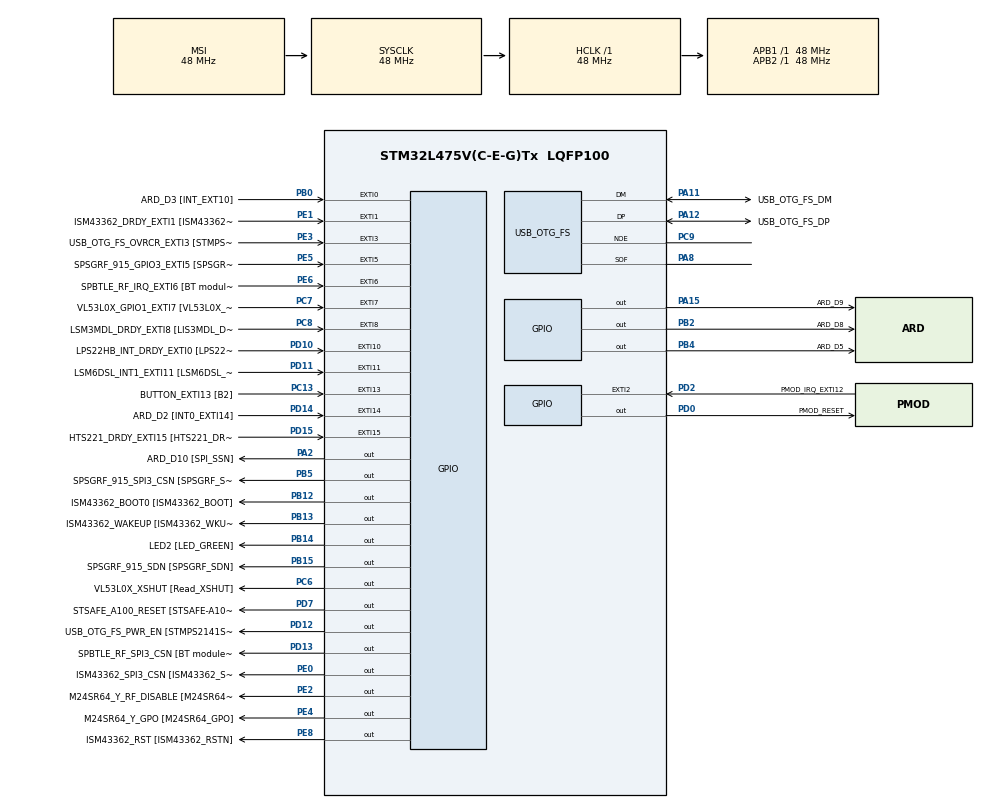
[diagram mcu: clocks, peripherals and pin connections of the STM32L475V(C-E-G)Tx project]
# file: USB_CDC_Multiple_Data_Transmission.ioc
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Mcu.Family=STM32L4
Mcu.Name=STM32L475V(C-E-G)Tx
Mcu.Package=LQFP100
NVIC.EXTI15_10_IRQn=true\:0\:0\:false\:false\:true\:true\:true
NVIC.EXTI9_5_IRQn=true\:0\:0\:false\:false\:true\:true\:true
NVIC.OTG_FS_IRQn=true\:0\:0\:false\:false\:true\:false\:true
NVIC.PriorityGroup=NVIC_PRIORITYGROUP_4
PA0.GPIO_Label=ARD_D1 [UART4_TX]
PA0.Signal=UART4_TX
PA1.GPIO_Label=ARD_D0 [UART4_RX]
PA1.Signal=UART4_RX
PA10.GPIO_Label=USB_OTG_FS_ID
PA10.Signal=USB_OTG_FS_ID
PA11.GPIO_Label=USB_OTG_FS_DM
PA11.Mode=Device_Only
PA11.Signal=USB_OTG_FS_DM
PA12.GPIO_Label=USB_OTG_FS_DP
PA12.Mode=Device_Only
PA12.Signal=USB_OTG_FS_DP
PA13\ (JTMS-SWDIO).GPIO_Label=SYS_JTMS_SWDIO
PA13\ (JTMS-SWDIO).Signal=SYS_JTMS-SWDIO
PA14\ (JTCK-SWCLK).GPIO_Label=SYS_JTCK_SWCLK
PA14\ (JTCK-SWCLK).Signal=SYS_JTCK-SWCLK
PA15\ (JTDI).GPIO_Label=ARD_D9
PA15\ (JTDI).Signal=GPIO_Output
PA2.GPIO_Label=ARD_D10 [SPI_SSN]
PA2.Signal=GPIO_Output
PA3.GPIO_Label=ARD_D4
PA3.Signal=S_TIM2_CH4
PA4.GPIO_Label=ARD_D7
PA4.Signal=ADCx_IN9
PA5.GPIO_Label=ARD_D13 [SPI1_SCK]
PA5.Signal=SPI1_SCK
PA6.GPIO_Label=ARD_D12 [SPI1_MISO]
PA6.Signal=SPI1_MISO
PA7.GPIO_Label=ARD_D11 [SPI1_MOSI]
PA7.Signal=SPI1_MOSI
PA8.Mode=Activate_SOF_FS
PA8.Signal=USB_OTG_FS_SOF
PA9.GPIO_Label=USB_OTG_FS_VBUS [STMPS2141STR_OUT]
PA9.Signal=USB_OTG_FS_VBUS
PB0.GPIO_Label=ARD_D3 [INT_EXT10]
PB0.Signal=GPXTI0
PB1.GPIO_Label=ARD_D6 [ADC1_IN6]
PB1.Signal=ADCx_IN16
PB10.GPIO_Label=INTERNAL_I2C2_SCL [VL53L0X_SCL]
PB10.Signal=I2C2_SCL
PB11.GPIO_Label=INTERNAL_I2C2_SDA [VL53L0X_SDA]
PB11.Signal=I2C2_SDA
PB12.GPIO_Label=ISM43362_BOOT0 [ISM43362_BOOT]
PB12.Signal=GPIO_Output
PB13.GPIO_Label=ISM43362_WAKEUP [ISM43362_WKUP]
PB13.Signal=GPIO_Output
PB14.GPIO_Label=LED2 [LED_GREEN]
PB14.Signal=GPIO_Output
PB15.GPIO_Label=SPSGRF_915_SDN [SPSGRF_SDN]
PB15.Signal=GPIO_Output
PB2.GPIO_Label=ARD_D8
PB2.Signal=GPIO_Output
PB3\ (JTDO-TRACESWO).GPIO_Label=SYS_JTD0_SWO
PB3\ (JTDO-TRACESWO).Signal=SYS_JTDO-SWO
PB4\ (NJTRST).GPIO_Label=ARD_D5
PB4\ (NJTRST).Signal=GPIO_Output
PB5.GPIO_Label=SPSGRF_915_SPI3_CSN [SPSGRF_SPI_CS]
PB5.PinState=GPIO_PIN_SET
PB5.Signal=GPIO_Output
PB6.GPIO_Label=ST_LINK_UART1_TX
PB6.Signal=USART1_TX
PB7.GPIO_Label=ST_LINK_UART1_RX
PB7.Signal=USART1_RX
PB8.GPIO_Label=ARD_D15 [I2C1_SCL]
PB8.Signal=I2C1_SCL
PB9.GPIO_Label=ARD_D14 [I2C1_SDA]
PB9.Signal=I2C1_SDA
PC0.GPIO_Label=ARD_A5 [ADC]
PC0.Signal=ADCx_IN1
PC1.GPIO_Label=ARD_A4 [ADC]
PC1.Signal=ADCx_IN2
PC10.GPIO_Label=INTERNAL_SPI3_SCK [BT module_SPI_SCLK] [ISM43362_SCK]
PC10.Signal=SPI3_SCK
PC11.GPIO_Label=INTERNAL_SPI3_MISO [BT module_SPI_MISO] [ISM43362_MISO]
PC11.Signal=SPI3_MISO
PC12.GPIO_Label=INTERNAL_SPI3_MOSI [BT module_SPI_MOSI] [ISM43362_MOSI]
PC12.Signal=SPI3_MOSI
PC13.GPIO_Label=BUTTON_EXTI13 [B2]
PC13.GPIO_ModeDefaultEXTI=GPIO_MODE_IT_FALLING
PC13.Signal=GPXTI13
PC14-OSC32_IN\ (PC14).Signal=RCC_OSC32_IN
PC15-OSC32_OUT\ (PC15).Signal=RCC_OSC32_OUT
PC2.GPIO_Label=ARD_A3 [ADC]
PC2.Signal=ADCx_IN3
PC3.GPIO_Label=ARD_A2 [ADC]
PC3.Signal=ADCx_IN4
PC4.GPIO_Label=ARD_A1 [ADC]
PC4.Signal=ADCx_IN13
PC5.GPIO_Label=ARD_A0 [ADC]
PC5.Signal=ADCx_IN14
PC6.GPIO_Label=VL53L0X_XSHUT [Read_XSHUT]
PC6.Signal=GPIO_Output
PC7.GPIO_Label=VL53L0X_GPIO1_EXTI7 [VL53L0X_GPIO1]
PC7.Signal=GPXTI7
PC8.GPIO_Label=LSM3MDL_DRDY_EXTI8 [LIS3MDL_DRDY]
PC8.Signal=GPXTI8
PC9.Mode=Activate_NOE
PC9.Signal=USB_OTG_FS_NOE
PD0.GPIO_Label=PMOD_RESET
PD0.Signal=GPIO_Output
PD1.GPIO_Label=PMOD_SPI2_SCK
PD1.Signal=SPI2_SCK
PD10.GPIO_Label=LPS22HB_INT_DRDY_EXTI0 [LPS22HB_INT_DRDY] 
PD10.Signal=GPXTI10
PD11.GPIO_Label=LSM6DSL_INT1_EXTI11 [LSM6DSL_INT1]
PD11.Signal=GPXTI11
PD12.GPIO_Label=USB_OTG_FS_PWR_EN [STMPS2141STR_EN]
PD12.Signal=GPIO_Output
PD13.GPIO_Label=SPBTLE_RF_SPI3_CSN [BT module_SPI_CS]
PD13.PinState=GPIO_PIN_SET
PD13.Signal=GPIO_Output
PD14.GPIO_Label=ARD_D2 [INT0_EXTI14]
PD14.Signal=GPXTI14
PD15.GPIO_Label=HTS221_DRDY_EXTI15 [HTS221_DRDY]
PD15.Signal=GPXTI15
PD2.GPIO_Label=PMOD_IRQ_EXTI12
PD2.Signal=GPXTI2
PD3.GPIO_Label=PMOD_UART2_CTS
PD3.Signal=USART2_CTS
PD4.GPIO_Label=PMOD_UART2_RTS
PD4.Signal=USART2_RTS
PD5.GPIO_Label=PMOD_UART2_TX
PD5.Signal=USART2_TX
PD6.GPIO_Label=PMOD_UART2_RX
PD6.Signal=USART2_RX
PD7.GPIO_Label=STSAFE_A100_RESET [STSAFE-A100_RESET]
PD7.Signal=GPIO_Output
PD8.GPIO_Label=INTERNAL_UART3_TX [ISM43362_RX]
PD8.Signal=USART3_TX
PD9.GPIO_Label=INTERNAL_UART3_RX [ISM43362_TX]
PD9.Signal=USART3_RX
PE0.GPIO_Label=ISM43362_SPI3_CSN [ISM43362_SSN]
PE0.PinState=GPIO_PIN_SET
PE0.Signal=GPIO_Output
PE1.GPIO_Label=ISM43362_DRDY_EXTI1 [ISM43362_DATARDY]
PE1.Signal=GPXTI1
PE10.GPIO_Label=QUADSPI_CLK [MX25R6435F_SCLK]
PE10.Signal=QUADSPI_CLK
PE11.GPIO_Label=QUADSPI_NCS [MX25R6435F_SCLK]
PE11.Signal=QUADSPI_NCS
PE12.GPIO_Label=OQUADSPI_BK1_IO0 [MX25R6435F_IO0]
PE12.Signal=QUADSPI_BK1_IO0
PE13.GPIO_Label=QUADSPI_BK1_IO1 [MX25R6435F_IO1]
PE13.Signal=QUADSPI_BK1_IO1
PE14.GPIO_Label=QUAD_SPI_BK1_IO2 [MX25R6435F_IO2]
PE14.Signal=QUADSPI_BK1_IO2
PE15.GPIO_Label=QUAD_SPI_BK1_IO3 [MX25R6435F_IO3]
PE15.Signal=QUADSPI_BK1_IO3
PE2.GPIO_Label=M24SR64_Y_RF_DISABLE [M24SR64_RFDIS]
PE2.Signal=GPIO_Output
PE3.GPIO_Label=USB_OTG_FS_OVRCR_EXTI3 [STMPS2141STR_FAULT]
PE3.Signal=GPXTI3
PE4.GPIO_Label=M24SR64_Y_GPO [M24SR64_GPO]
PE4.Signal=GPIO_Output
PE5.GPIO_Label=SPSGRF_915_GPIO3_EXTI5 [SPSGRF_GPIO_3]
PE5.Signal=GPXTI5
PE6.GPIO_Label=SPBTLE_RF_IRQ_EXTI6 [BT module_SPI_IRQ]
PE6.Signal=GPXTI6
PE7.GPIO_Label=DFSDM1_DATIN2 [MP34DT01_DOUT]
PE7.Signal=S_DATAIN2DFSDM1
PE8.GPIO_Label=ISM43362_RST [ISM43362_RSTN]
PE8.Signal=GPIO_Output
PE9.GPIO_Label=DFSDM1_CKOUT [MP34DT01_CLK]
PE9.Signal=S_CKOUTDFSDM1
ProjectManager.HeapSize=0x2000
ProjectManager.StackSize=0x4000
ProjectManager.TargetToolchain=STM32CubeIDE
RCC.ADCFreq_Value=576000000
RCC.AHBFreq_Value=48000000
RCC.APB1Freq_Value=48000000
RCC.APB1TimFreq_Value=48000000
RCC.APB2Freq_Value=48000000
RCC.APB2TimFreq_Value=48000000
RCC.CK48CLockSelection=RCC_USBCLKSOURCE_MSI
RCC.CortexFreq_Value=48000000
RCC.HCLKFreq_Value=48000000
RCC.HSE_VALUE=8000000
RCC.HSI_VALUE=16000000
RCC.LSE_VALUE=32768
RCC.MSIClockRange=RCC_MSIRANGE_11
RCC.MSI_VALUE=48000000
RCC.PLLN=40
RCC.PLLSAI1N=24
RCC.SYSCLKFreq_VALUE=48000000
RCC.USBFreq_Value=48000000
RCC.VCOOutputFreq_Value=1920000000
SH.ADCx_IN1.0=ADC1_IN1
SH.ADCx_IN13.0=ADC1_IN13
SH.ADCx_IN14.0=ADC1_IN14
SH.ADCx_IN16.0=ADC1_IN16
SH.ADCx_IN2.0=ADC1_IN2
SH.ADCx_IN3.0=ADC1_IN3
SH.ADCx_IN4.0=ADC1_IN4
SH.ADCx_IN9.0=ADC1_IN9
SH.S_CKOUTDFSDM1.0=DFSDM1_CKOUT
SH.S_DATAIN2DFSDM1.0=DFSDM1_DATIN2
SH.S_TIM2_CH4.0=TIM2_CH4
USB_DEVICE.CLASS_NAME_FS=CDC
USB_DEVICE.VirtualMode=Cdc
USB_DEVICE.VirtualModeFS=Cdc_FS
USB_OTG_FS.VirtualMode=Device_Only
VP_USB_DEVICE_VS_USB_DEVICE_CDC_FS.Mode=CDC_FS
board=B-L475E-IOT01A1

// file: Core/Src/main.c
/* USER CODE BEGIN Header */
/**
  ******************************************************************************
  * @file           : main.c
  * @brief          : Main program body
  ******************************************************************************
  * @attention
  *
  * Copyright (c) 2020-2021 STMicroelectronics.
  * All rights reserved.
  * This software is licensed under terms that can be found in the LICENSE file in
  * the root directory of this software component.
  * If no LICENSE file comes with this software, it is provided AS-IS.
  *
  ******************************************************************************
  */
/* USER CODE END Header */
#include "main.h"
#include "usb_device.h"

/* USER CODE BEGIN Includes */
#include "lsm6dsl.h"
#include "b_l475e_iot01a1_bus.h"
#include "ai_logging.h"
#include "usbd_cdc_if.h"
/* USER CODE END Includes */

/* USER CODE BEGIN PD */
#define SEND_BUFFER_MAX_SIZE 512
/* USER CODE END PD */

/* USER CODE BEGIN PV */
ai_logging_device_t device;
LSM6DSL_Object_t MotionSensor;
volatile uint32_t motionDataAvailable;
extern volatile uint8_t usb_connected;
/* USER CODE END PV */

void SystemClock_Config(void);
static void MX_GPIO_Init(void);
/* USER CODE BEGIN PFP */
static void MEMS_Init(void);
/* USER CODE END PFP */

int main(void)
{

  /* MCU Configuration--------------------------------------------------------*/

  /* Reset of all peripherals, Initializes the Flash interface and the Systick. */
  HAL_Init();

  /* Configure the system clock */
  SystemClock_Config();

  /* Initialize all configured peripherals */
  MX_GPIO_Init();
  MX_USB_DEVICE_Init();
  /* USER CODE BEGIN 2 */
  MEMS_Init();
  /* USER CODE END 2 */

  /* Infinite loop */
  /* USER CODE BEGIN WHILE */

  uint8_t send_buffer[SEND_BUFFER_MAX_SIZE];
  ai_logging_init(&device);
  ai_logging_init_send(&device, usb_cdc_send_function, send_buffer,SEND_BUFFER_MAX_SIZE);

  LSM6DSL_Axes_t acc_axes;

  motionDataAvailable = 0;

  ai_logging_packet_t packet;
  packet.timestamp = -1;

  uint32_t dataCaptured = 0;
  char charBuffer[32];

  uint8_t test_img[5][5][3] = {{{255,0,0},{255,0,0},{255,0,0},{255,0,0},{255,0,0}},
                              {{255,255,0}, {255,255,0}, {255,255,0}, {255,255,0}, {255,255,0}},
                              {{0,255,0}, {0,255,0}, {0,255,0}, {0,255,0}, {0,255,0}},
                              {{0, 255, 255}, {0, 255, 255}, {0, 255, 255}, {0, 255, 255}, {0, 255, 255}},
                              {{0, 0, 255}, {0, 0, 255}, {0, 0, 255}, {0, 0, 255}, {0, 0, 255}},
                              };

  while (1)
  {

    if (motionDataAvailable != 0) {
      LSM6DSL_ACC_GetAxes(&MotionSensor, &acc_axes);

      /*
      // Send accelerometer using data classical API using ai_logging_buffer and ai_logging_tensor
      ai_logging_buffer data_buffer;
      data_buffer.buffer = (uint8_t*)&acc_axes;
      data_buffer.size = sizeof(acc_axes);
      ai_logging_tensor data_info;
      ai_logging_shape shape = create_shape_1d(3);
      data_info.shape = &shape;
      data_info.data_type = AI_INT32;
      ai_logging_send_data(&device, data_buffer, data_info);*/

      // Send acceletometer data using "packet" API  using ai_logging_packet_t (same data type to receive packets)
      packet.message = "Accelero";
      packet.message_size = strlen(packet.message);
      packet.payload = (uint8_t*)&acc_axes;
      packet.payload_size = sizeof(acc_axes);
      ai_logging_create_shape_1d(&packet.shape, 3);
      packet.payload_type = AI_INT32;
      packet.timestamp = HAL_GetTick();
      ai_logging_send_packet(&device, &packet);

      // Sending message using ai_logging_message (classical API)
      sprintf(charBuffer, "Message: %ld", dataCaptured);
      ai_logging_message message;
      message.buffer = charBuffer;
      message.size = strlen(message.buffer);
      ai_logging_send_message(&device, message);

      uint8_t *array_start = &test_img[0][0][0];
      for(int i = 0 ; i < 5*5; i++)
      {
        *array_start += 1;
        *(array_start+1) += 2;
        *(array_start+2) -= 1;
        array_start += 3;
      }
      // Sending image reusing packet previously used
      ai_logging_clear_packet(&packet);
      packet.payload = (uint8_t*)&test_img;
      packet.payload_size = sizeof(test_img);
      // packet.shape = create_shape_3d(5, 5, 3);
      ai_logging_create_shape_3d(&packet.shape, 5, 5, 3);
      packet.payload_type = AI_UINT8;
      ai_logging_send_packet(&device, &packet);

      dataCaptured += 1;
      motionDataAvailable = 0;
    }

    /* USER CODE END WHILE */

  }
}

void SystemClock_Config(void)
{
  RCC_OscInitTypeDef RCC_OscInitStruct = {0};
  RCC_ClkInitTypeDef RCC_ClkInitStruct = {0};
  RCC_PeriphCLKInitTypeDef PeriphClkInit = {0};

  /** Initializes the RCC Oscillators according to the specified parameters
  * in the RCC_OscInitTypeDef structure.
  */
  RCC_OscInitStruct.OscillatorType = RCC_OSCILLATORTYPE_MSI;
  RCC_OscInitStruct.MSIState = RCC_MSI_ON;
  RCC_OscInitStruct.MSICalibrationValue = 0;
  RCC_OscInitStruct.MSIClockRange = RCC_MSIRANGE_11;
  RCC_OscInitStruct.PLL.PLLState = RCC_PLL_NONE;
  if (HAL_RCC_OscConfig(&RCC_OscInitStruct) != HAL_OK)
  {
    Error_Handler();
  }
  /** Initializes the CPU, AHB and APB buses clocks
  */
  RCC_ClkInitStruct.ClockType = RCC_CLOCKTYPE_HCLK|RCC_CLOCKTYPE_SYSCLK
                              |RCC_CLOCKTYPE_PCLK1|RCC_CLOCKTYPE_PCLK2;
  RCC_ClkInitStruct.SYSCLKSource = RCC_SYSCLKSOURCE_MSI;
  RCC_ClkInitStruct.AHBCLKDivider = RCC_SYSCLK_DIV1;
  RCC_ClkInitStruct.APB1CLKDivider = RCC_HCLK_DIV1;
  RCC_ClkInitStruct.APB2CLKDivider = RCC_HCLK_DIV1;

  if (HAL_RCC_ClockConfig(&RCC_ClkInitStruct, FLASH_LATENCY_2) != HAL_OK)
  {
    Error_Handler();
  }
  PeriphClkInit.PeriphClockSelection = RCC_PERIPHCLK_USB;
  PeriphClkInit.UsbClockSelection = RCC_USBCLKSOURCE_MSI;
  if (HAL_RCCEx_PeriphCLKConfig(&PeriphClkInit) != HAL_OK)
  {
    Error_Handler();
  }
  /** Configure the main internal regulator output voltage
  */
  if (HAL_PWREx_ControlVoltageScaling(PWR_REGULATOR_VOLTAGE_SCALE1) != HAL_OK)
  {
    Error_Handler();
  }
}

static void MX_GPIO_Init(void)
{
  GPIO_InitTypeDef GPIO_InitStruct = {0};

  /* GPIO Ports Clock Enable */
  __HAL_RCC_GPIOE_CLK_ENABLE();
  __HAL_RCC_GPIOC_CLK_ENABLE();
  __HAL_RCC_GPIOA_CLK_ENABLE();
  __HAL_RCC_GPIOB_CLK_ENABLE();
  __HAL_RCC_GPIOD_CLK_ENABLE();

  /*Configure GPIO pin Output Level */
  HAL_GPIO_WritePin(GPIOE, M24SR64_Y_RF_DISABLE_Pin|M24SR64_Y_GPO_Pin|ISM43362_RST_Pin, GPIO_PIN_RESET);

  /*Configure GPIO pin Output Level */
  HAL_GPIO_WritePin(GPIOA, ARD_D10_Pin|ARD_D9_Pin, GPIO_PIN_RESET);

  /*Configure GPIO pin Output Level */
  HAL_GPIO_WritePin(GPIOB, ARD_D8_Pin|ISM43362_BOOT0_Pin|ISM43362_WAKEUP_Pin|LED2_Pin
                          |SPSGRF_915_SDN_Pin|ARD_D5_Pin, GPIO_PIN_RESET);

  /*Configure GPIO pin Output Level */
  HAL_GPIO_WritePin(GPIOD, USB_OTG_FS_PWR_EN_Pin|PMOD_RESET_Pin|STSAFE_A100_RESET_Pin, GPIO_PIN_RESET);

  /*Configure GPIO pin Output Level */
  HAL_GPIO_WritePin(SPBTLE_RF_SPI3_CSN_GPIO_Port, SPBTLE_RF_SPI3_CSN_Pin, GPIO_PIN_SET);

  /*Configure GPIO pin Output Level */
  HAL_GPIO_WritePin(VL53L0X_XSHUT_GPIO_Port, VL53L0X_XSHUT_Pin, GPIO_PIN_RESET);

  /*Configure GPIO pin Output Level */
  HAL_GPIO_WritePin(SPSGRF_915_SPI3_CSN_GPIO_Port, SPSGRF_915_SPI3_CSN_Pin, GPIO_PIN_SET);

  /*Configure GPIO pin Output Level */
  HAL_GPIO_WritePin(ISM43362_SPI3_CSN_GPIO_Port, ISM43362_SPI3_CSN_Pin, GPIO_PIN_SET);

  /*Configure GPIO pins : M24SR64_Y_RF_DISABLE_Pin M24SR64_Y_GPO_Pin ISM43362_RST_Pin ISM43362_SPI3_CSN_Pin */
  GPIO_InitStruct.Pin = M24SR64_Y_RF_DISABLE_Pin|M24SR64_Y_GPO_Pin|ISM43362_RST_Pin|ISM43362_SPI3_CSN_Pin;
  GPIO_InitStruct.Mode = GPIO_MODE_OUTPUT_PP;
  GPIO_InitStruct.Pull = GPIO_NOPULL;
  GPIO_InitStruct.Speed = GPIO_SPEED_FREQ_LOW;
  HAL_GPIO_Init(GPIOE, &GPIO_InitStruct);

  /*Configure GPIO pins : USB_OTG_FS_OVRCR_EXTI3_Pin SPSGRF_915_GPIO3_EXTI5_Pin SPBTLE_RF_IRQ_EXTI6_Pin ISM43362_DRDY_EXTI1_Pin */
  GPIO_InitStruct.Pin = USB_OTG_FS_OVRCR_EXTI3_Pin|SPSGRF_915_GPIO3_EXTI5_Pin|SPBTLE_RF_IRQ_EXTI6_Pin|ISM43362_DRDY_EXTI1_Pin;
  GPIO_InitStruct.Mode = GPIO_MODE_IT_RISING;
  GPIO_InitStruct.Pull = GPIO_NOPULL;
  HAL_GPIO_Init(GPIOE, &GPIO_InitStruct);

  /*Configure GPIO pin : BUTTON_EXTI13_Pin */
  GPIO_InitStruct.Pin = BUTTON_EXTI13_Pin;
  GPIO_InitStruct.Mode = GPIO_MODE_IT_FALLING;
  GPIO_InitStruct.Pull = GPIO_NOPULL;
  HAL_GPIO_Init(BUTTON_EXTI13_GPIO_Port, &GPIO_InitStruct);

  /*Configure GPIO pins : ARD_A5_Pin ARD_A4_Pin ARD_A3_Pin ARD_A2_Pin
                           ARD_A1_Pin ARD_A0_Pin */
  GPIO_InitStruct.Pin = ARD_A5_Pin|ARD_A4_Pin|ARD_A3_Pin|ARD_A2_Pin
                          |ARD_A1_Pin|ARD_A0_Pin;
  GPIO_InitStruct.Mode = GPIO_MODE_ANALOG_ADC_CONTROL;
  GPIO_InitStruct.Pull = GPIO_NOPULL;
  HAL_GPIO_Init(GPIOC, &GPIO_InitStruct);

  /*Configure GPIO pins : ARD_D1_Pin ARD_D0_Pin */
  GPIO_InitStruct.Pin = ARD_D1_Pin|ARD_D0_Pin;
  GPIO_InitStruct.Mode = GPIO_MODE_AF_PP;
  GPIO_InitStruct.Pull = GPIO_NOPULL;
  GPIO_InitStruct.Speed = GPIO_SPEED_FREQ_VERY_HIGH;
  GPIO_InitStruct.Alternate = GPIO_AF8_UART4;
  HAL_GPIO_Init(GPIOA, &GPIO_InitStruct);

  /*Configure GPIO pins : ARD_D10_Pin ARD_D9_Pin */
  GPIO_InitStruct.Pin = ARD_D10_Pin|ARD_D9_Pin;
  GPIO_InitStruct.Mode = GPIO_MODE_OUTPUT_PP;
  GPIO_InitStruct.Pull = GPIO_NOPULL;
  GPIO_InitStruct.Speed = GPIO_SPEED_FREQ_LOW;
  HAL_GPIO_Init(GPIOA, &GPIO_InitStruct);

  /*Configure GPIO pin : ARD_D4_Pin */
  GPIO_InitStruct.Pin = ARD_D4_Pin;
  GPIO_InitStruct.Mode = GPIO_MODE_AF_PP;
  GPIO_InitStruct.Pull = GPIO_NOPULL;
  GPIO_InitStruct.Speed = GPIO_SPEED_FREQ_LOW;
  GPIO_InitStruct.Alternate = GPIO_AF1_TIM2;
  HAL_GPIO_Init(ARD_D4_GPIO_Port, &GPIO_InitStruct);

  /*Configure GPIO pin : ARD_D7_Pin */
  GPIO_InitStruct.Pin = ARD_D7_Pin;
  GPIO_InitStruct.Mode = GPIO_MODE_ANALOG_ADC_CONTROL;
  GPIO_InitStruct.Pull = GPIO_NOPULL;
  HAL_GPIO_Init(ARD_D7_GPIO_Port, &GPIO_InitStruct);

  /*Configure GPIO pins : ARD_D13_Pin ARD_D12_Pin ARD_D11_Pin */
  GPIO_InitStruct.Pin = ARD_D13_Pin|ARD_D12_Pin|ARD_D11_Pin;
  GPIO_InitStruct.Mode = GPIO_MODE_AF_PP;
  GPIO_InitStruct.Pull = GPIO_NOPULL;
  GPIO_InitStruct.Speed = GPIO_SPEED_FREQ_VERY_HIGH;
  GPIO_InitStruct.Alternate = GPIO_AF5_SPI1;
  HAL_GPIO_Init(GPIOA, &GPIO_InitStruct);

  /*Configure GPIO pin : ARD_D3_Pin */
  GPIO_InitStruct.Pin = ARD_D3_Pin;
  GPIO_InitStruct.Mode = GPIO_MODE_IT_RISING;
  GPIO_InitStruct.Pull = GPIO_NOPULL;
  HAL_GPIO_Init(ARD_D3_GPIO_Port, &GPIO_InitStruct);

  /*Configure GPIO pin : ARD_D6_Pin */
  GPIO_InitStruct.Pin = ARD_D6_Pin;
  GPIO_InitStruct.Mode = GPIO_MODE_ANALOG_ADC_CONTROL;
  GPIO_InitStruct.Pull = GPIO_NOPULL;
  HAL_GPIO_Init(ARD_D6_GPIO_Port, &GPIO_InitStruct);

  /*Configure GPIO pins : ARD_D8_Pin ISM43362_BOOT0_Pin ISM43362_WAKEUP_Pin LED2_Pin
                           SPSGRF_915_SDN_Pin ARD_D5_Pin SPSGRF_915_SPI3_CSN_Pin */
  GPIO_InitStruct.Pin = ARD_D8_Pin|ISM43362_BOOT0_Pin|ISM43362_WAKEUP_Pin|LED2_Pin
                          |SPSGRF_915_SDN_Pin|ARD_D5_Pin|SPSGRF_915_SPI3_CSN_Pin;
  GPIO_InitStruct.Mode = GPIO_MODE_OUTPUT_PP;
  GPIO_InitStruct.Pull = GPIO_NOPULL;
  GPIO_InitStruct.Speed = GPIO_SPEED_FREQ_LOW;
  HAL_GPIO_Init(GPIOB, &GPIO_InitStruct);

  /*Configure GPIO pins : DFSDM1_DATIN2_Pin DFSDM1_CKOUT_Pin */
  GPIO_InitStruct.Pin = DFSDM1_DATIN2_Pin|DFSDM1_CKOUT_Pin;
  GPIO_InitStruct.Mode = GPIO_MODE_AF_PP;
  GPIO_InitStruct.Pull = GPIO_NOPULL;
  GPIO_InitStruct.Speed = GPIO_SPEED_FREQ_LOW;
  GPIO_InitStruct.Alternate = GPIO_AF6_DFSDM1;
  HAL_GPIO_Init(GPIOE, &GPIO_InitStruct);

  /*Configure GPIO pins : QUADSPI_CLK_Pin QUADSPI_NCS_Pin OQUADSPI_BK1_IO0_Pin QUADSPI_BK1_IO1_Pin
                           QUAD_SPI_BK1_IO2_Pin QUAD_SPI_BK1_IO3_Pin */
  GPIO_InitStruct.Pin = QUADSPI_CLK_Pin|QUADSPI_NCS_Pin|OQUADSPI_BK1_IO0_Pin|QUADSPI_BK1_IO1_Pin
                          |QUAD_SPI_BK1_IO2_Pin|QUAD_SPI_BK1_IO3_Pin;
  GPIO_InitStruct.Mode = GPIO_MODE_AF_PP;
  GPIO_InitStruct.Pull = GPIO_NOPULL;
  GPIO_InitStruct.Speed = GPIO_SPEED_FREQ_VERY_HIGH;
  GPIO_InitStruct.Alternate = GPIO_AF10_QUADSPI;
  HAL_GPIO_Init(GPIOE, &GPIO_InitStruct);

  /*Configure GPIO pins : INTERNAL_I2C2_SCL_Pin INTERNAL_I2C2_SDA_Pin */
  GPIO_InitStruct.Pin = INTERNAL_I2C2_SCL_Pin|INTERNAL_I2C2_SDA_Pin;
  GPIO_InitStruct.Mode = GPIO_MODE_AF_OD;
  GPIO_InitStruct.Pull = GPIO_PULLUP;
  GPIO_InitStruct.Speed = GPIO_SPEED_FREQ_VERY_HIGH;
  GPIO_InitStruct.Alternate = GPIO_AF4_I2C2;
  HAL_GPIO_Init(GPIOB, &GPIO_InitStruct);

  /*Configure GPIO pins : INTERNAL_UART3_TX_Pin INTERNAL_UART3_RX_Pin */
  GPIO_InitStruct.Pin = INTERNAL_UART3_TX_Pin|INTERNAL_UART3_RX_Pin;
  GPIO_InitStruct.Mode = GPIO_MODE_AF_PP;
  GPIO_InitStruct.Pull = GPIO_NOPULL;
  GPIO_InitStruct.Speed = GPIO_SPEED_FREQ_VERY_HIGH;
  GPIO_InitStruct.Alternate = GPIO_AF7_USART3;
  HAL_GPIO_Init(GPIOD, &GPIO_InitStruct);

  /*Configure GPIO pins : LPS22HB_INT_DRDY_EXTI0_Pin LSM6DSL_INT1_EXTI11_Pin ARD_D2_Pin HTS221_DRDY_EXTI15_Pin
                           PMOD_IRQ_EXTI12_Pin */
  GPIO_InitStruct.Pin = LPS22HB_INT_DRDY_EXTI0_Pin|LSM6DSL_INT1_EXTI11_Pin|ARD_D2_Pin|HTS221_DRDY_EXTI15_Pin
                          |PMOD_IRQ_EXTI12_Pin;
  GPIO_InitStruct.Mode = GPIO_MODE_IT_RISING;
  GPIO_InitStruct.Pull = GPIO_NOPULL;
  HAL_GPIO_Init(GPIOD, &GPIO_InitStruct);

  /*Configure GPIO pins : USB_OTG_FS_PWR_EN_Pin SPBTLE_RF_SPI3_CSN_Pin PMOD_RESET_Pin STSAFE_A100_RESET_Pin */
  GPIO_InitStruct.Pin = USB_OTG_FS_PWR_EN_Pin|SPBTLE_RF_SPI3_CSN_Pin|PMOD_RESET_Pin|STSAFE_A100_RESET_Pin;
  GPIO_InitStruct.Mode = GPIO_MODE_OUTPUT_PP;
  GPIO_InitStruct.Pull = GPIO_NOPULL;
  GPIO_InitStruct.Speed = GPIO_SPEED_FREQ_LOW;
  HAL_GPIO_Init(GPIOD, &GPIO_InitStruct);

  /*Configure GPIO pin : VL53L0X_XSHUT_Pin */
  GPIO_InitStruct.Pin = VL53L0X_XSHUT_Pin;
  GPIO_InitStruct.Mode = GPIO_MODE_OUTPUT_PP;
  GPIO_InitStruct.Pull = GPIO_NOPULL;
  GPIO_InitStruct.Speed = GPIO_SPEED_FREQ_LOW;
  HAL_GPIO_Init(VL53L0X_XSHUT_GPIO_Port, &GPIO_InitStruct);

  /*Configure GPIO pins : VL53L0X_GPIO1_EXTI7_Pin LSM3MDL_DRDY_EXTI8_Pin */
  GPIO_InitStruct.Pin = VL53L0X_GPIO1_EXTI7_Pin|LSM3MDL_DRDY_EXTI8_Pin;
  GPIO_InitStruct.Mode = GPIO_MODE_IT_RISING;
  GPIO_InitStruct.Pull = GPIO_NOPULL;
  HAL_GPIO_Init(GPIOC, &GPIO_InitStruct);

  /*Configure GPIO pins : INTERNAL_SPI3_SCK_Pin INTERNAL_SPI3_MISO_Pin INTERNAL_SPI3_MOSI_Pin */
  GPIO_InitStruct.Pin = INTERNAL_SPI3_SCK_Pin|INTERNAL_SPI3_MISO_Pin|INTERNAL_SPI3_MOSI_Pin;
  GPIO_InitStruct.Mode = GPIO_MODE_AF_PP;
  GPIO_InitStruct.Pull = GPIO_NOPULL;
  GPIO_InitStruct.Speed = GPIO_SPEED_FREQ_VERY_HIGH;
  GPIO_InitStruct.Alternate = GPIO_AF6_SPI3;
  HAL_GPIO_Init(GPIOC, &GPIO_InitStruct);

  /*Configure GPIO pin : PMOD_SPI2_SCK_Pin */
  GPIO_InitStruct.Pin = PMOD_SPI2_SCK_Pin;
  GPIO_InitStruct.Mode = GPIO_MODE_AF_PP;
  GPIO_InitStruct.Pull = GPIO_NOPULL;
  GPIO_InitStruct.Speed = GPIO_SPEED_FREQ_VERY_HIGH;
  GPIO_InitStruct.Alternate = GPIO_AF5_SPI2;
  HAL_GPIO_Init(PMOD_SPI2_SCK_GPIO_Port, &GPIO_InitStruct);

  /*Configure GPIO pins : PMOD_UART2_CTS_Pin PMOD_UART2_RTS_Pin PMOD_UART2_TX_Pin PMOD_UART2_RX_Pin */
  GPIO_InitStruct.Pin = PMOD_UART2_CTS_Pin|PMOD_UART2_RTS_Pin|PMOD_UART2_TX_Pin|PMOD_UART2_RX_Pin;
  GPIO_InitStruct.Mode = GPIO_MODE_AF_PP;
  GPIO_InitStruct.Pull = GPIO_NOPULL;
  GPIO_InitStruct.Speed = GPIO_SPEED_FREQ_VERY_HIGH;
  GPIO_InitStruct.Alternate = GPIO_AF7_USART2;
  HAL_GPIO_Init(GPIOD, &GPIO_InitStruct);

  /*Configure GPIO pins : ST_LINK_UART1_TX_Pin ST_LINK_UART1_RX_Pin */
  GPIO_InitStruct.Pin = ST_LINK_UART1_TX_Pin|ST_LINK_UART1_RX_Pin;
  GPIO_InitStruct.Mode = GPIO_MODE_AF_PP;
  GPIO_InitStruct.Pull = GPIO_NOPULL;
  GPIO_InitStruct.Speed = GPIO_SPEED_FREQ_VERY_HIGH;
  GPIO_InitStruct.Alternate = GPIO_AF7_USART1;
  HAL_GPIO_Init(GPIOB, &GPIO_InitStruct);

  /*Configure GPIO pins : ARD_D15_Pin ARD_D14_Pin */
  GPIO_InitStruct.Pin = ARD_D15_Pin|ARD_D14_Pin;
  GPIO_InitStruct.Mode = GPIO_MODE_AF_OD;
  GPIO_InitStruct.Pull = GPIO_PULLUP;
  GPIO_InitStruct.Speed = GPIO_SPEED_FREQ_VERY_HIGH;
  GPIO_InitStruct.Alternate = GPIO_AF4_I2C1;
  HAL_GPIO_Init(GPIOB, &GPIO_InitStruct);

  /* EXTI interrupt init*/
  HAL_NVIC_SetPriority(EXTI9_5_IRQn, 0, 0);
  HAL_NVIC_EnableIRQ(EXTI9_5_IRQn);

  HAL_NVIC_SetPriority(EXTI15_10_IRQn, 0, 0);
  HAL_NVIC_EnableIRQ(EXTI15_10_IRQn);

}

/* USER CODE BEGIN 4 */
static void MEMS_Init(void)
{
  LSM6DSL_IO_t io_ctx;
  uint8_t id;
  LSM6DSL_AxesRaw_t axes;

  /* Link I2C functions to the LSM6DSL driver */
  io_ctx.BusType     = LSM6DSL_I2C_BUS;
  io_ctx.Address     = LSM6DSL_I2C_ADD_L;
  io_ctx.Init        = BSP_I2C2_Init;
  io_ctx.DeInit      = BSP_I2C2_DeInit;
  io_ctx.ReadReg     = BSP_I2C2_ReadReg;
  io_ctx.WriteReg    = BSP_I2C2_WriteReg;
  io_ctx.GetTick     = BSP_GetTick;
  LSM6DSL_RegisterBusIO(&MotionSensor, &io_ctx);

  /* Read the LSM6DSL WHO_AM_I register */
  LSM6DSL_ReadID(&MotionSensor, &id);
  if (id != LSM6DSL_ID) {
    Error_Handler();
  }

  /* Initialize the LSM6DSL sensor */
  LSM6DSL_Init(&MotionSensor);

  /* Configure the LSM6DSL accelerometer (ODR, scale and interrupt) */
  //LSM6DSL_ACC_SetOutputDataRate(&MotionSensor, 208.0f);
  LSM6DSL_ACC_SetOutputDataRate(&MotionSensor, 104.0f);
  //LSM6DSL_ACC_SetOutputDataRate(&MotionSensor, 26.0f);
  //LSM6DSL_ACC_SetOutputDataRate(&MotionSensor, 12.5f);

  LSM6DSL_ACC_SetFullScale(&MotionSensor, 4);          /* [-4000mg; +4000mg] */
  LSM6DSL_ACC_Set_INT1_DRDY(&MotionSensor, ENABLE);    /* Enable DRDY */
  LSM6DSL_ACC_GetAxesRaw(&MotionSensor, &axes);        /* Clear DRDY */
  LSM6DSL_Set_DRDY_Mode(&MotionSensor, 1);/*�DRDY�pulsed�mode�*/

  /* Start the LSM6DSL accelerometer */
  LSM6DSL_ACC_Enable(&MotionSensor);
}

void HAL_GPIO_EXTI_Callback(uint16_t GPIO_Pin)
{
  if (GPIO_Pin == GPIO_PIN_11) {
    motionDataAvailable += 1;
  }
}

/* USER CODE END 4 */

void Error_Handler(void)
{
  __disable_irq();
  while (1)
  {
  }
}

/************************ (C) COPYRIGHT STMicroelectronics *****END OF FILE****/
